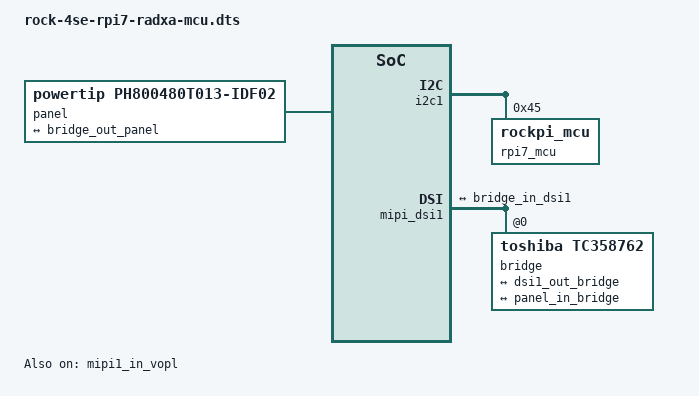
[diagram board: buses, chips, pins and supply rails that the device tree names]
// SPDX-License-Identifier: (GPL-2.0+ OR MIT)
/*
 * Raspberry Pi 7" / DFR0678 touchscreen on the Radxa ROCK 4SE, Radxa-style.
 *
 * Reproduces what Radxa's working "rock-4-raspi-7inch-touchscreen" overlay and
 * raspits-tc358762 + rockpi_mcu drivers do, using the in-tree tc358762 bridge:
 *  - the ATTiny MCU (0x45) has no kernel driver (like Radxa's passive
 *    "rockpi_mcu" node); the bridge driver power-cycles it with raw I2C
 *    writes right before it programs the bridge, in bridge enable (the DSI
 *    host is already in video mode, exactly like the Radxa BSP)
 *  - Radxa's register sequence, LCDC timing and DSI flags (burst, no EoT)
 *
 * Needs the kernel patches rk3399-dsi1-dsi0-pll, dsi-lane-rate-override,
 * dfr0678-radxa-timing and tc358762-rpi7-radxa-bringup, and no other overlay
 * touching I2C1 address 0x45.
 *
 * Optional bridge properties (all consumed by tc358762-rpi7-radxa-bringup):
 *   toshiba,mcu-delay-ms = <800>;                  waits around MCU power-up
 *   toshiba,lcdc-timing = <hsr_hbpr hdispr_hfpr vsr_vbpr vdispr_vfpr>;
 *   dsi,flags = <0xa03>;                           MIPI_DSI_MODE_* mask
 */

/dts-v1/;
/plugin/;

&{/} {
	panel {
		compatible = "powertip,ph800480t013-idf02";

		port {
			panel_in_bridge: endpoint {
				remote-endpoint = <&bridge_out_panel>;
			};
		};
	};
};

&i2c1 {
	#address-cells = <1>;
	#size-cells = <0>;
	status = "okay";

	rpi7_mcu: mcu@45 {
		compatible = "rockpi_mcu";
		reg = <0x45>;
	};
};

/* Route DSI1 through VOPL, like Radxa */
&mipi1_in_vopb {
	status = "disabled";
};

&mipi1_in_vopl {
	status = "okay";
};

&mipi_dsi1 {
	#address-cells = <1>;
	#size-cells = <0>;
	status = "okay";

	/* DSI0 supplies the shared PHY PLL while staying disabled */
	rockchip,dsi-dsi0 = <&mipi_dsi>;
	rockchip,lane-rate = <696>;

	bridge@0 {
		compatible = "toshiba,tc358762";
		reg = <0>;

		toshiba,radxa-rpi7-init;
		toshiba,radxa-mcu = <&rpi7_mcu>;
		toshiba,debug-readback;

		ports {
			#address-cells = <1>;
			#size-cells = <0>;

			port@0 {
				reg = <0>;

				bridge_in_dsi1: endpoint {
					remote-endpoint = <&dsi1_out_bridge>;
				};
			};

			port@1 {
				reg = <1>;

				bridge_out_panel: endpoint {
					remote-endpoint = <&panel_in_bridge>;
				};
			};
		};
	};

	ports {
		#address-cells = <1>;
		#size-cells = <0>;

		port@1 {
			reg = <1>;

			dsi1_out_bridge: endpoint {
				remote-endpoint = <&bridge_in_dsi1>;
			};
		};
	};
};
